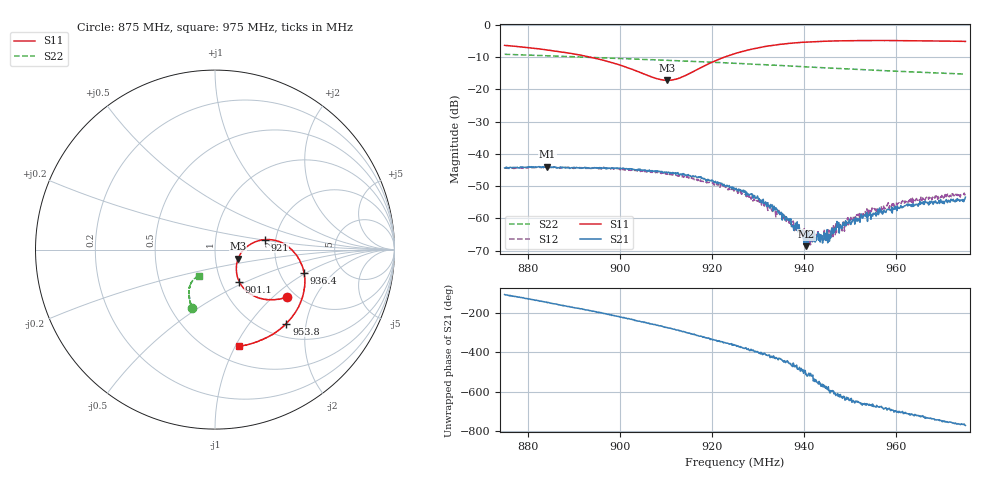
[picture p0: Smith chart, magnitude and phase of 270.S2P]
! C:\Users\rflab\Downloads\Lab5_KD_ZW\Q3\270.S2P
! Touchstone 1.1 file saved by VNA.EXE V1.65 (www.ke5fx.com/gpib/readme.htm)
! 11/18/2024 10:37:21 PM
!  Source: HEWLETT PACKARD,8753D,0,6.14
!  Min freq: 8.750000E+008 Hz
!  Max freq: 9.750200E+008 Hz
!  Points: 801
!  Params: S11 S21 S12 S22
# GHZ S MA R 50
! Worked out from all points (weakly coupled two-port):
!   801 points, 875 MHz to 975 MHz, reference 50 ohm
!   highest |S21| = -43.94 dB at 884.3 MHz (marker M1); lowest = -68.6 dB at 940.5 MHz (marker M2)
!   lowest |S11| = -17.2 dB at 910.3 MHz (marker M3), VSWR 1.32, Z = 64.3 - j6.68 ohm
!   |S11| at or under -10 dB: 893.6 MHz to 922.7 MHz (29.13 MHz wide, 3.21 % of centre)
!   |S22| runs from -15.3 to -9.1 dB; largest |S21 - S12| = 0.0013
!   S11 on the Smith chart (normalised r, x): 875 MHz: 1.79, -1.24; 901.1 MHz: 1.22, -0.46; 921 MHz: 1.75, +0.21; 936.4 MHz: 2.72, -0.97; 953.8 MHz: 1.26, -1.55; 975 MHz: 0.66, -1.03
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0.875  0.4813 -33.4  0.006042 -108.1  0.006036 -99.1  0.3495 -111.1
0.8842518  0.4089 -43.1  0.006355 -149.7  0.0062 -139.2  0.3313 -114.1
0.8917534  0.3367 -50.0  0.005961 -179.9  0.006117 -173.7  0.317 -116.1
0.9011302  0.2244 -53.0  0.005879 132.8  0.005587 138.9  0.2989 -118.7
0.9083817  0.1445 -33.1  0.005292 94.7  0.005006 101.9  0.2859 -120.4
0.9102571  0.1381 -21.6  0.005164 84.9  0.005012 90.1  0.2829 -120.8
0.9133827  0.1541 -2.6  0.00469 67.4  0.004531 72.9  0.2765 -121.6
0.9210092  0.2829 11.3  0.003607 18.3  0.003326 29.6  0.2614 -123.4
0.92501  0.3596 7.2  0.00281 -3.9  0.002713 4.9  0.2536 -124.2
0.9295109  0.4324 -0.8  0.002045 -35.3  0.001886 -24.8  0.2445 -125.1
0.9363873  0.5137 -14.8  0.000994 -83.3  0.000917 -78.0  0.2312 -125.5
0.9390128  0.5319 -19.9  0.000693 -117.1  0.000568 -111.0  0.2261 -125.7
0.9396379  0.5357 -21.1  0.000565 -135.8  0.000548 -128.0  0.2251 -125.8
0.9405131  0.5414 -22.8  0.00037 -152.1  0.000574 -129.4  0.2235 -125.8
0.9417633  0.5477 -25.2  0.000557 -161.9  0.00043 -147.2  0.221 -125.8
0.9427636  0.5521 -27.1  0.000529 167.2  0.0005 -165.3  0.219 -125.8
0.9452641  0.5595 -31.7  0.00049 144.7  0.00066 132.5  0.2147 -125.8
0.9475145  0.566 -35.7  0.000863 105.5  0.000727 118.1  0.2108 -125.7
0.9537657  0.573 -46.1  0.000896 56.1  0.001203 72.4  0.2005 -125.3
0.9583917  0.5725 -53.1  0.001376 34.6  0.001586 39.5  0.1935 -124.9
0.9670184  0.5644 -65.4  0.001619 -15.1  0.001981 -10.2  0.1821 -123.7
0.97502  0.5549 -76.3  0.002126 -51.7  0.00227 -46.1  0.1723 -121.9
